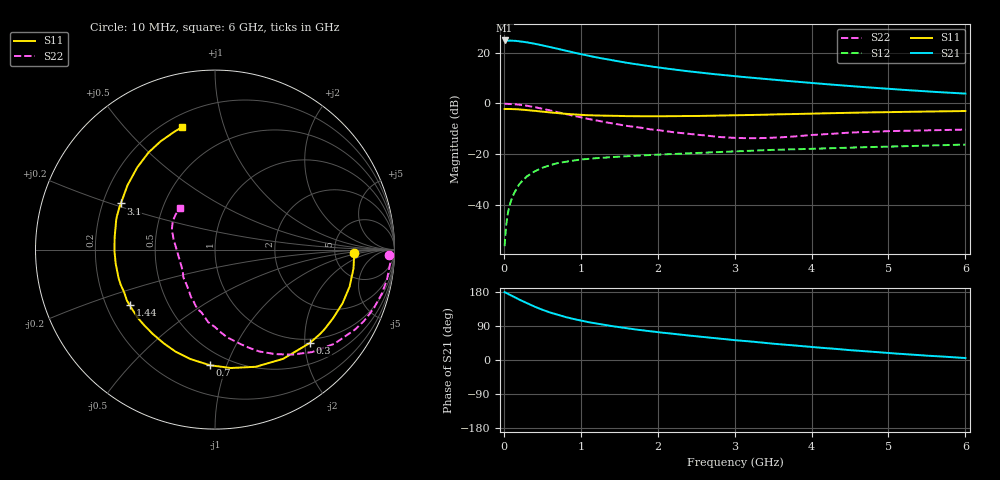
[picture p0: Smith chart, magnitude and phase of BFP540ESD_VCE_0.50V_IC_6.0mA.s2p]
! Infineon Technologies  Discrete & RF Semiconductors
! BFP540ESD
! VCE = 0.50 V,  IC =  6.0 mA
! Common Emitter S-Parameters:  Nov 2015
# GHz  S  MA  R  50
!  f  S11  S21  S12  S22
! GHz  MAG  ANG  MAG  ANG  MAG  ANG  MAG  ANG
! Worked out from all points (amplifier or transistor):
!   210 points, 10 MHz to 6 GHz, reference 50 ohm
!   highest |S21| = 24.9 dB at 10 MHz (marker M1)
!   |S21| within 3 dB of that: start of sweep to 656.4 MHz
!   unconditionally stable (mu >= 1): 3.167 GHz to end of sweep
!   at 185 MHz: K = 0.07, MSG = 28.7 dB, |S12| = -32.7 dB
!   at 1.52 GHz: K = 0.58, MSG = 18.7 dB, |S12| = -21.0 dB
!   at 6 GHz: K = 1.22, MAG = 7.3 dB, |S12| = -16.3 dB
!   S11 on the Smith chart (normalised r, x): 10 MHz: 7.86, -0.75; 300 MHz: 0.91, -2.11; 700 MHz: 0.40, -0.88; 1.44 GHz: 0.30, -0.27; 3.1 GHz: 0.28, +0.22; 6 GHz: 0.27, +0.73
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0.01  0.7761 -1.4  17.61 179.0  0.0015 93.0  0.9694 -1.7
0.02  0.7757 -3.4  17.44 178.4  0.0025 81.2  0.9851 -1.9
0.06  0.7775 -9.2  17.53 173.9  0.0077 85.9  0.9765 -6.0
0.15  0.7712 -22.8  17.32 164.7  0.0185 79.1  0.9606 -15.1
0.2  0.761 -30.2  16.98 159.5  0.0251 76.3  0.9435 -20.1
0.3  0.7417 -44.5  16.19 149.8  0.036 68.8  0.8998 -29.5
0.4  0.7174 -58.0  15.19 140.8  0.0452 62.8  0.8469 -38.3
0.5  0.6913 -70.8  14.16 132.6  0.0533 57.4  0.7868 -46.5
0.6  0.6656 -82.4  13.03 125.4  0.0599 53.0  0.727 -53.6
0.7  0.6451 -92.4  12.06 119.4  0.066 48.9  0.6716 -60.1
0.8  0.6249 -102.7  11.1 113.5  0.0703 45.3  0.6189 -66.5
0.9  0.6097 -111.1  10.22 108.5  0.0739 42.4  0.5727 -71.7
1.02  0.5918 -120.3  9.324 103.3  0.0781 39.6  0.5225 -77.8
1.2  0.5774 -133.0  8.17 96.3  0.0826 35.9  0.4611 -86.1
1.44  0.5674 -146.8  7.005 88.4  0.0873 32.6  0.3966 -96.5
1.7  0.5608 -159.6  6.022 80.9  0.092 29.8  0.344 -106.6
2.02  0.5586 -172.7  5.115 73.0  0.0972 27.3  0.2947 -117.1
2.6  0.568 167.8  3.988 60.5  0.1065 23.8  0.2341 -139.0
3.1  0.584 153.9  3.351 50.8  0.114 21.2  0.2063 -158.7
4.1  0.6342 131.5  2.468 32.7  0.1278 14.9  0.2421 163.9
5.1  0.6775 115.4  1.9 17.0  0.1408 9.1  0.2848 144.7
6  0.7074 104.9  1.565 5.2  0.1536 4.9  0.3037 130.0
